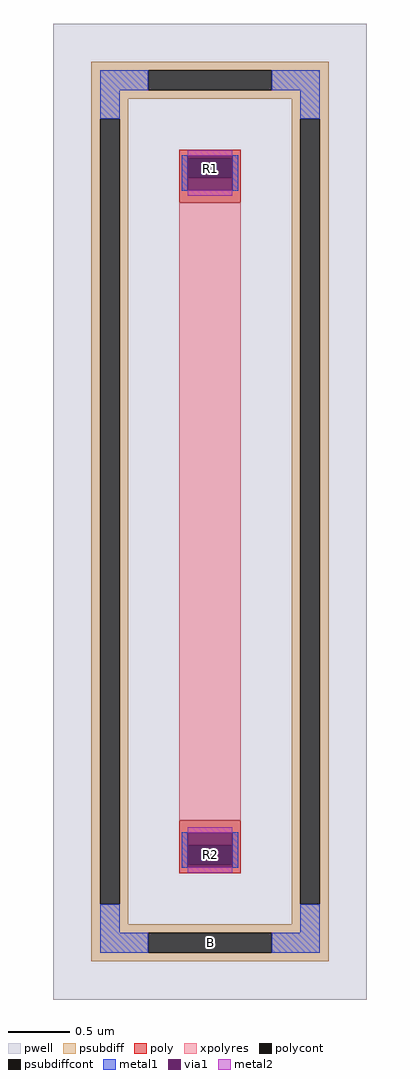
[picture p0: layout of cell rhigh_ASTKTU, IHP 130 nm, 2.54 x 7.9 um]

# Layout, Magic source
magic
tech ihp-sg13g2
magscale 1 2
<< pwell >>
rect -254 -790 254 790
<< psubdiff >>
rect -192 714 192 728
rect -192 682 -100 714
rect 100 682 192 714
rect -192 668 192 682
rect -192 636 -132 668
rect -192 -636 -178 636
rect -146 -636 -132 636
rect 132 636 192 668
rect -192 -668 -132 -636
rect 132 -636 146 636
rect 178 -636 192 636
rect 132 -668 192 -636
rect -192 -682 192 -668
rect -192 -714 -100 -682
rect 100 -714 192 -682
rect -192 -728 192 -714
<< psubdiffcont >>
rect -100 682 100 714
rect -178 -636 -146 636
rect 146 -636 178 636
rect -100 -714 100 -682
<< poly >>
rect -50 572 50 586
rect -50 540 -36 572
rect 36 540 50 572
rect -50 500 50 540
rect -50 -540 50 -500
rect -50 -572 -36 -540
rect 36 -572 50 -540
rect -50 -586 50 -572
<< polycont >>
rect -36 540 36 572
rect -36 -572 36 -540
<< xpolyres >>
rect -50 -500 50 500
<< metal1 >>
rect -178 682 -100 714
rect 100 682 178 714
rect -178 636 -146 682
rect 146 636 178 682
rect -46 576 46 577
rect -46 520 -36 576
rect 36 520 46 576
rect -46 519 46 520
rect -46 -520 46 -519
rect -46 -576 -36 -520
rect 36 -576 46 -520
rect -46 -577 46 -576
rect -178 -682 -146 -636
rect 146 -682 178 -636
rect -178 -714 -100 -682
rect 100 -714 178 -682
<< via1 >>
rect -36 572 36 576
rect -36 540 36 572
rect -36 520 36 540
rect -36 -540 36 -520
rect -36 -572 36 -540
rect -36 -576 36 -572
<< metal2 >>
rect -36 576 36 585
rect -36 511 36 520
rect -36 -520 36 -511
rect -36 -585 36 -576
<< labels >>
rlabel psubdiffcont 0 -698 0 -698 0 B
port 1 nsew
rlabel polycont 0 556 0 556 0 R1
port 2 nsew
rlabel polycont 0 -556 0 -556 0 R2
port 3 nsew
<< properties >>
string FIXED_BBOX -162 -698 162 698
string gencell rhigh
string library sg13g2
string parameters w 0.50 l 5 m 1 nx 1 wmin 0.50 lmin 0.50 class resistor rho 1360 val 13.6k dummy 0 dw 0.0 term 0.0 sterm 0.0 caplen 0 guard 1 glc 1 grc 1 gtc 1 gbc 1 snake 0 full_metal 1 n_guard 0 hv_guard 0 vias 1 viagb 0 viagt 0 viagl 0 viagr 0 doports 1
<< end >>
